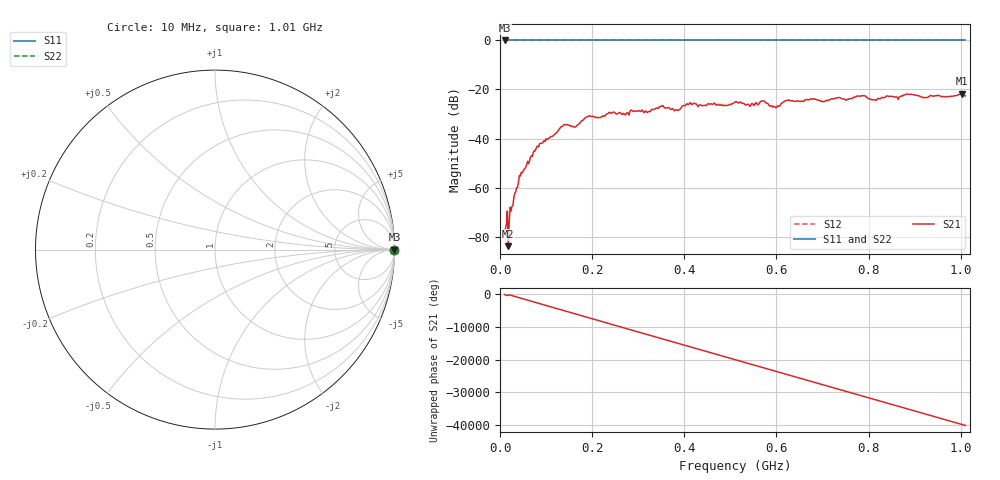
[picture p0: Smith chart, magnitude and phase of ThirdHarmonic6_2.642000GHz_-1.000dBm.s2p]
! 8/17/2025 5:58:40 AM
! C:\ANRITSUVNA\TEMP\TEMP.S2P
! CHANNEL.1
! TR.MEASUREMENT
! RAW.DATA
! RF.CORRECTION.OFF
! AVERAGING.OFF
! IF.BANDWIDTH: 5KHZ
! SWEEPTYPE:  FREQ.SWEEP(Linear)
! Reference Plane Port Info
! PORT:  PORT1  PORT2
! DISTANCE:  0  m  0  m
! TIME:  0  s  0  s
! PHASE.OFFSET:  0  deg.  0  deg.
! LOSS:  0  dB  0  dB
! REF.LOSS:  0  dB  0  dB
! REF.FREQ:  0  Hz  0  Hz
! Power Info
! POWER:  -20  dBm  -20  dBm
! EFF.POWER:  -20  dBm  -20  dBm
! SOURCE.ATTEN:  0  dB  0  dB
! TEST.ATTEN:  0  dB  0  dB
# GHZ S RI R 50.0
! FREQ.GHZ  S11RE  S11IM  S21RE  S21IM  S12RE  S12IM  S22RE  S22IM
!; PortSelection: Port_12
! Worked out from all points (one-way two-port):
!   501 points, 10 MHz to 1.01 GHz, reference 50 ohm
!   highest |S21| = -21.71 dB at 1.002 GHz (marker M1); lowest = -83.9 dB at 18 MHz (marker M2)
!   lowest |S11| = 0.0 dB at 10 MHz (marker M3)
!   |S11| at or under -10 dB: nowhere
!   |S22| runs from 0.0 to 0.0 dB; largest |S21 - S12| = 1.1
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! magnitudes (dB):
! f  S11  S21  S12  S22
! 10 MHz  0.0  -77.3  0.0  0.0
! 18 MHz  0.0  -83.9  0.0  0.0
! 22 MHz  0.0  -68.1  0.0  0.0
! 26 MHz  0.0  -67.7  0.0  0.0
! 44 MHz  0.0  -55.4  0.0  0.0
! 78 MHz  0.0  -44.3  0.0  0.0
! 136 MHz  0.0  -35.0  0.0  0.0
! 164 MHz  0.0  -35.3  0.0  0.0
! 178 MHz  0.0  -32.6  0.0  0.0
! 192 MHz  0.0  -31.0  0.0  0.0
! 344 MHz  0.0  -27.6  0.0  0.0
! 382 MHz  0.0  -28.2  0.0  0.0
! 410 MHz  0.0  -26.1  0.0  0.0
! 510 MHz  0.0  -25.1  0.0  0.0
! 540 MHz  0.0  -26.3  0.0  0.0
! 570 MHz  0.0  -24.7  0.0  0.0
! 596 MHz  0.0  -26.9  0.0  0.0
! 622 MHz  0.0  -24.6  0.0  0.0
! 678 MHz  0.0  -24.0  0.0  0.0
! 844 MHz  0.0  -22.9  0.0  0.0
! 1.002 GHz  0.0  -21.7  0.0  0.0
! 1.01 GHz  0.0  -22.6  0.0  0.0
